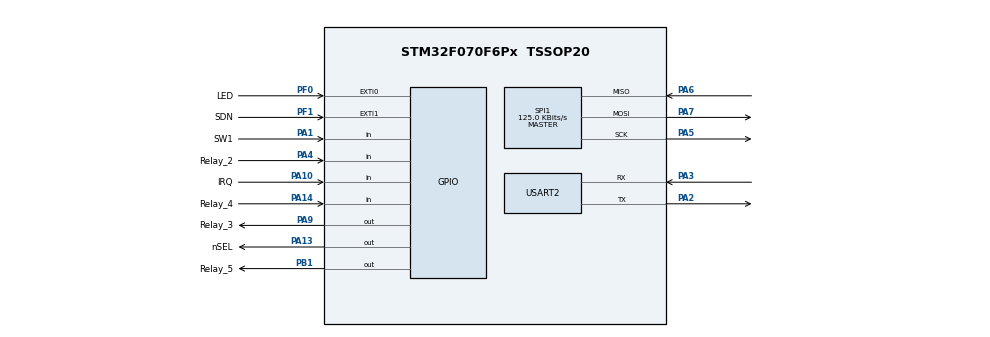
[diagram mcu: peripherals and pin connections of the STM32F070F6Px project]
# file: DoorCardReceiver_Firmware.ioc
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Mcu.Family=STM32F0
Mcu.Name=STM32F070F6Px
Mcu.Package=TSSOP20
NVIC.EXTI0_1_IRQn=true\:0\:0\:false\:false\:true\:true\:true
PA0.GPIO_Label=Relay_1
PA0.Mode=SYS_WakeUp0
PA0.Signal=SYS_WKUP1
PA1.GPIO_Label=SW1
PA1.GPIO_PuPd=GPIO_PULLDOWN
PA1.Signal=GPIO_Input
PA10.GPIO_Label=IRQ
PA10.Signal=GPIO_Input
PA13.GPIO_Label=nSEL
PA13.Signal=GPIO_Output
PA14.GPIO_Label=Relay_4
PA14.Signal=GPIO_Input
PA2.Mode=Asynchronous
PA2.Signal=USART2_TX
PA3.Mode=Asynchronous
PA3.Signal=USART2_RX
PA4.GPIO_Label=Relay_2
PA4.Signal=GPIO_Input
PA5.Mode=Full_Duplex_Master
PA5.Signal=SPI1_SCK
PA6.Mode=Full_Duplex_Master
PA6.Signal=SPI1_MISO
PA7.Mode=Full_Duplex_Master
PA7.Signal=SPI1_MOSI
PA9.GPIO_Label=Relay_3
PA9.Signal=GPIO_Output
PB1.GPIO_Label=Relay_5
PB1.GPIO_ModeDefaultOutputPP=GPIO_MODE_OUTPUT_PP
PB1.PinState=GPIO_PIN_SET
PB1.Signal=GPIO_Output
PF0-OSC_IN.GPIO_Label=LED
PF0-OSC_IN.GPIO_PuPd=GPIO_PULLDOWN
PF0-OSC_IN.Signal=GPXTI0
PF1-OSC_OUT.GPIO_Label=SDN
PF1-OSC_OUT.GPIO_PuPd=GPIO_PULLDOWN
PF1-OSC_OUT.Signal=GPXTI1
ProjectManager.HeapSize=0x200
ProjectManager.StackSize=0x400
ProjectManager.TargetToolchain=STM32CubeIDE
SPI1.BaudRatePrescaler=SPI_BAUDRATEPRESCALER_64
SPI1.CalculateBaudRate=125.0 KBits/s
SPI1.DataSize=SPI_DATASIZE_8BIT
SPI1.Direction=SPI_DIRECTION_2LINES
SPI1.Mode=SPI_MODE_MASTER
SPI1.VirtualType=VM_MASTER
USART2.VirtualMode-Asynchronous=VM_ASYNC
board=custom

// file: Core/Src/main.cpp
/* USER CODE BEGIN Header */
/**
  ******************************************************************************
  * @file           : main.c
  * @brief          : Main program body
  ******************************************************************************
  * @attention
  *
  * <h2><center>&copy; Copyright (c) 2019 STMicroelectronics.
  * All rights reserved.</center></h2>
  *
  * This software component is licensed by ST under BSD 3-Clause license,
  * the "License"; You may not use this file except in compliance with the
  * License. You may obtain a copy of the License at:
  *                        opensource.org/licenses/BSD-3-Clause
  *
  ******************************************************************************
  */
/* USER CODE END Header */

#include "main.h"

/* USER CODE BEGIN Includes */

#include "si446x.h"

/* USER CODE END Includes */

/* USER CODE BEGIN PM */

  bool arrayCompare(uint8_t* arr1, uint8_t* arr2)
  {
	  for(int i = 0; i < 7; i++)
	  {
		  if(arr1[i] != arr2[i])
		  {
			  return false;
		  }
	  }
	  return true;
  }

/* USER CODE END PM */

SPI_HandleTypeDef hspi1;

UART_HandleTypeDef huart2;

void SystemClock_Config(void);
static void MX_GPIO_Init(void);
static void MX_SPI1_Init(void);
static void MX_USART2_UART_Init(void);

int main(void)
{

  /* MCU Configuration--------------------------------------------------------*/

  /* Reset of all peripherals, Initializes the Flash interface and the Systick. */
  HAL_Init();

  /* Configure the system clock */
  SystemClock_Config();

  /* Initialize all configured peripherals */
  MX_GPIO_Init();
  MX_SPI1_Init();
  MX_USART2_UART_Init();
  /* USER CODE BEGIN 2 */

  si446x rf(&hspi1, GPIOA, nSEL_Pin, GPIOF, SDN_Pin, GPIOA, IRQ_Pin); //446x object
  rf.powerUp(); //Power up

  /* USER CODE END 2 */

  /* Infinite loop */
  while (1)
  {

    /* USER CODE BEGIN 3 */
	  /*
	  for(int i = 0; i<3; i++) //Blink thre times as heartbeat
	 	  {
	 		  HAL_GPIO_WritePin(GPIOB, Relay_5_Pin, GPIO_PIN_SET);
	 		  HAL_GPIO_WritePin(GPIOA, Relay_1_Pin, GPIO_PIN_SET);
	 		  HAL_GPIO_WritePin(GPIOF, LED_Pin, GPIO_PIN_SET);
	 	  	  HAL_Delay(1000);
	 	  	  HAL_GPIO_WritePin(GPIOB, Relay_5_Pin, GPIO_PIN_RESET);
	 	  	  HAL_GPIO_WritePin(GPIOA, Relay_1_Pin, GPIO_PIN_RESET);
	 	  	  HAL_GPIO_WritePin(GPIOF, LED_Pin, GPIO_PIN_RESET);
	 	  	  HAL_Delay(1000);
	 	  }

	 	  if(HAL_GPIO_ReadPin(GPIOA, SW1_Pin) == GPIO_PIN_SET)
	 	  {
	 		  uint8_t packet[50] = {"OpenDoor1"};
	 		  HAL_UART_Transmit(&huart2, packet, 14, 5000);
	 		  rf.sendPacket(packet, 14, 1);
	 		  HAL_Delay(200);

	 		  HAL_Delay(1000);
	 	  }
	 	  */

	 	  //MODEM 2 - RECEIVER
	  	  HAL_GPIO_WritePin(GPIOB, Relay_5_Pin, GPIO_PIN_RESET);
	  	  while (1)
	 		  {
	 			  rf.startRX(1);
	 			  HAL_Delay(30);
	 			  uint8_t fifoBytes = rf.getRxFifoInfo();
	 			  uint8_t buf[16] = {};
	 			  if(fifoBytes > 0)
	 			  {
	 				  uint8_t packetReceived[] = "/n Packet Received \n";
	 				  HAL_UART_Transmit(&huart2, packetReceived, sizeof(packetReceived), 1000);
	 				  rf.getPacket(buf, fifoBytes);
	 				  //HAL_UART_Transmit(&huart2, buf, sizeof(buf), 1000);
	 				  //break;
	 				  //if(buf == answer){break;};
	 				  HAL_GPIO_WritePin(GPIOB, Relay_5_Pin, GPIO_PIN_SET);
	 				  HAL_Delay(100);
	 				  HAL_GPIO_WritePin(GPIOB, Relay_5_Pin, GPIO_PIN_RESET);
	 			  }
	 		  }

	 		 /*
	  	  	  	  	  	  HAL_GPIO_WritePin(GPIOF, Relay_5_Pin, GPIO_PIN_RESET);
	  	  	  	  	  	  rf.startRX(1);
	  	  	  	  	  	  HAL_Delay(1000);
	  		 			  uint8_t fifoBytes = rf.getRxFifoInfo();
	  		 			  uint8_t buf[16] = {};
	  		 			  if(fifoBytes > 0)
	  		 			  {
	  		 				  uint8_t packetReceived[] = "/n Packet Received \n";
	  		 				  HAL_UART_Transmit(&huart2, packetReceived, sizeof(packetReceived), 1000);
	  		 				  rf.getPacket(buf, fifoBytes);
	  		 				  HAL_UART_Transmit(&huart2, buf, sizeof(buf), 1000);
	  		 				  uint8_t answer[] = "1234567";
	  		 				  if(arrayCompare(buf, answer) == true)
	  		 				  {
	  		 					uint8_t packetReceived[] = "/n Sending Answer \n";
	  		 					HAL_UART_Transmit(&huart2, packetReceived, sizeof(packetReceived), 1000);
	  		 					uint8_t data[] = "7654321";
	  		 					rf.sendPacket(data, sizeof(data), 1);
	  		 					HAL_GPIO_WritePin(GPIOF, Relay_5_Pin, GPIO_PIN_SET);
	  		 					HAL_Delay(1000);
	  		 					HAL_GPIO_WritePin(GPIOF, Relay_5_Pin, GPIO_PIN_RESET);
	  		 				  }
	  		 			  }
			*/

  }
  /* USER CODE END 3 */
}

void SystemClock_Config(void)
{
  RCC_OscInitTypeDef RCC_OscInitStruct = {0};
  RCC_ClkInitTypeDef RCC_ClkInitStruct = {0};

  /** Initializes the CPU, AHB and APB busses clocks
  */
  RCC_OscInitStruct.OscillatorType = RCC_OSCILLATORTYPE_HSI;
  RCC_OscInitStruct.HSIState = RCC_HSI_ON;
  RCC_OscInitStruct.HSICalibrationValue = RCC_HSICALIBRATION_DEFAULT;
  RCC_OscInitStruct.PLL.PLLState = RCC_PLL_NONE;
  if (HAL_RCC_OscConfig(&RCC_OscInitStruct) != HAL_OK)
  {
    Error_Handler();
  }
  /** Initializes the CPU, AHB and APB busses clocks
  */
  RCC_ClkInitStruct.ClockType = RCC_CLOCKTYPE_HCLK|RCC_CLOCKTYPE_SYSCLK
                              |RCC_CLOCKTYPE_PCLK1;
  RCC_ClkInitStruct.SYSCLKSource = RCC_SYSCLKSOURCE_HSI;
  RCC_ClkInitStruct.AHBCLKDivider = RCC_SYSCLK_DIV1;
  RCC_ClkInitStruct.APB1CLKDivider = RCC_HCLK_DIV1;

  if (HAL_RCC_ClockConfig(&RCC_ClkInitStruct, FLASH_LATENCY_0) != HAL_OK)
  {
    Error_Handler();
  }
}

static void MX_SPI1_Init(void)
{

  /* SPI1 parameter configuration*/
  hspi1.Instance = SPI1;
  hspi1.Init.Mode = SPI_MODE_MASTER;
  hspi1.Init.Direction = SPI_DIRECTION_2LINES;
  hspi1.Init.DataSize = SPI_DATASIZE_8BIT;
  hspi1.Init.CLKPolarity = SPI_POLARITY_LOW;
  hspi1.Init.CLKPhase = SPI_PHASE_1EDGE;
  hspi1.Init.NSS = SPI_NSS_SOFT;
  hspi1.Init.BaudRatePrescaler = SPI_BAUDRATEPRESCALER_64;
  hspi1.Init.FirstBit = SPI_FIRSTBIT_MSB;
  hspi1.Init.TIMode = SPI_TIMODE_DISABLE;
  hspi1.Init.CRCCalculation = SPI_CRCCALCULATION_DISABLE;
  hspi1.Init.CRCPolynomial = 7;
  hspi1.Init.CRCLength = SPI_CRC_LENGTH_DATASIZE;
  hspi1.Init.NSSPMode = SPI_NSS_PULSE_ENABLE;
  if (HAL_SPI_Init(&hspi1) != HAL_OK)
  {
    Error_Handler();
  }

}

static void MX_USART2_UART_Init(void)
{

  huart2.Instance = USART2;
  huart2.Init.BaudRate = 38400;
  huart2.Init.WordLength = UART_WORDLENGTH_8B;
  huart2.Init.StopBits = UART_STOPBITS_1;
  huart2.Init.Parity = UART_PARITY_NONE;
  huart2.Init.Mode = UART_MODE_TX_RX;
  huart2.Init.HwFlowCtl = UART_HWCONTROL_NONE;
  huart2.Init.OverSampling = UART_OVERSAMPLING_16;
  huart2.Init.OneBitSampling = UART_ONE_BIT_SAMPLE_DISABLE;
  huart2.AdvancedInit.AdvFeatureInit = UART_ADVFEATURE_NO_INIT;
  if (HAL_UART_Init(&huart2) != HAL_OK)
  {
    Error_Handler();
  }

}

static void MX_GPIO_Init(void)
{
  GPIO_InitTypeDef GPIO_InitStruct = {0};

  /* GPIO Ports Clock Enable */
  __HAL_RCC_GPIOF_CLK_ENABLE();
  __HAL_RCC_GPIOA_CLK_ENABLE();
  __HAL_RCC_GPIOB_CLK_ENABLE();

  /*Configure GPIO pin Output Level */
  HAL_GPIO_WritePin(Relay_5_GPIO_Port, Relay_5_Pin, GPIO_PIN_SET);

  /*Configure GPIO pin Output Level */
  HAL_GPIO_WritePin(GPIOA, Relay_3_Pin|nSEL_Pin, GPIO_PIN_RESET);

  /*Configure GPIO pins : LED_Pin SDN_Pin */
  GPIO_InitStruct.Pin = LED_Pin|SDN_Pin;
  GPIO_InitStruct.Mode = GPIO_MODE_IT_RISING;
  GPIO_InitStruct.Pull = GPIO_PULLDOWN;
  HAL_GPIO_Init(GPIOF, &GPIO_InitStruct);

  /*Configure GPIO pin : SW1_Pin */
  GPIO_InitStruct.Pin = SW1_Pin;
  GPIO_InitStruct.Mode = GPIO_MODE_INPUT;
  GPIO_InitStruct.Pull = GPIO_PULLDOWN;
  HAL_GPIO_Init(SW1_GPIO_Port, &GPIO_InitStruct);

  /*Configure GPIO pins : Relay_2_Pin IRQ_Pin Relay_4_Pin */
  GPIO_InitStruct.Pin = Relay_2_Pin|IRQ_Pin|Relay_4_Pin;
  GPIO_InitStruct.Mode = GPIO_MODE_INPUT;
  GPIO_InitStruct.Pull = GPIO_NOPULL;
  HAL_GPIO_Init(GPIOA, &GPIO_InitStruct);

  /*Configure GPIO pin : Relay_5_Pin */
  GPIO_InitStruct.Pin = Relay_5_Pin;
  GPIO_InitStruct.Mode = GPIO_MODE_OUTPUT_PP;
  GPIO_InitStruct.Pull = GPIO_NOPULL;
  GPIO_InitStruct.Speed = GPIO_SPEED_FREQ_LOW;
  HAL_GPIO_Init(Relay_5_GPIO_Port, &GPIO_InitStruct);

  /*Configure GPIO pins : Relay_3_Pin nSEL_Pin */
  GPIO_InitStruct.Pin = Relay_3_Pin|nSEL_Pin;
  GPIO_InitStruct.Mode = GPIO_MODE_OUTPUT_PP;
  GPIO_InitStruct.Pull = GPIO_NOPULL;
  GPIO_InitStruct.Speed = GPIO_SPEED_FREQ_LOW;
  HAL_GPIO_Init(GPIOA, &GPIO_InitStruct);

  /* EXTI interrupt init*/
  HAL_NVIC_SetPriority(EXTI0_1_IRQn, 0, 0);
  HAL_NVIC_EnableIRQ(EXTI0_1_IRQn);

}

void Error_Handler(void)
{
}

/************************ (C) COPYRIGHT STMicroelectronics *****END OF FILE****/
